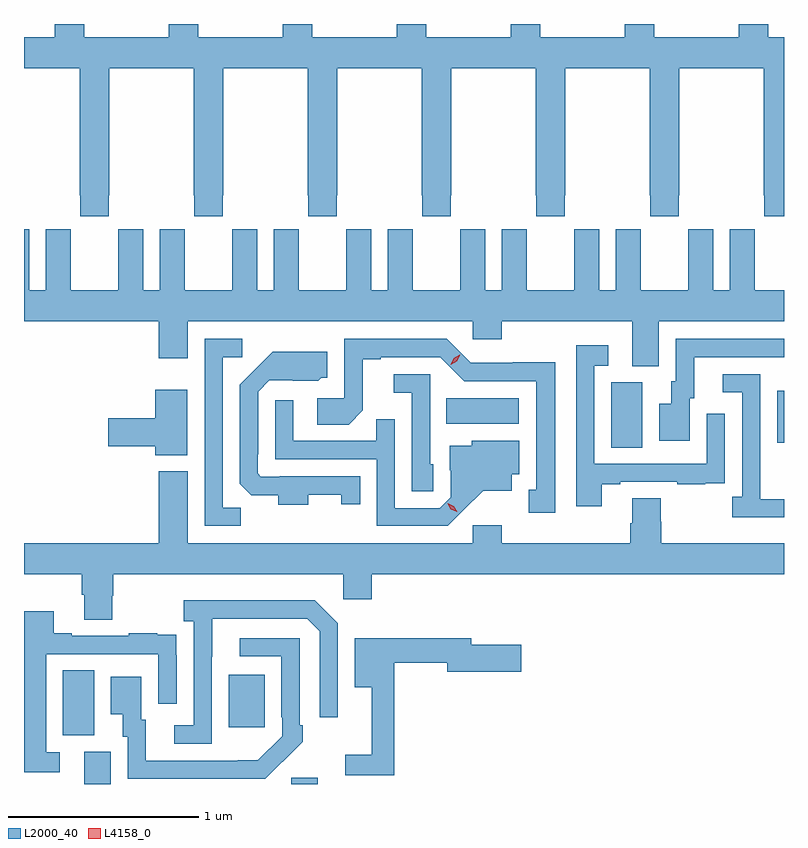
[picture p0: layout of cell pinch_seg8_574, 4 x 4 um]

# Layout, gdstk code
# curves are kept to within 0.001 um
import gdstk
lib = gdstk.Library(unit=1e-6, precision=1e-09)
def R(c, l, rs):  # rectangles x0, y0, x1, y1
    for r in rs: c.add(gdstk.rectangle(r[:2], r[2:], *l))
def P(c, l, *ps):  # polygons
    for p in ps: c.add(gdstk.Polygon(p, *l))
L2000_40 = (2000, 40)
L4158_0 = (4158, 0)

pinch_seg8_574 = lib.new_cell('pinch_seg8_574')
R(pinch_seg8_574, L2000_40, [(132.797,1086.093,132.937,1086.264), (133.887,1086.093,134.026,1086.126), (132.686,1086.349,132.85,1086.692), (133.559,1086.393,133.747,1086.667), (135.572,1087.864,135.736,1088.208), (136.445,1087.889,136.481,1088.164), (134.704,1087.988,135.085,1088.122)])
P(pinch_seg8_574, L2000_40, [(135.175,1089.193),(135.177,1089.193),(135.177,1089.081),(135.327,1089.081),(135.327,1089.193),(135.33,1089.193),(135.33,1089.86),(135.775,1089.86),(135.775,1089.193),(135.777,1089.193),(135.777,1089.081),(135.927,1089.081),(135.927,1089.193),(135.93,1089.193),(135.93,1089.86),(136.375,1089.86),(136.375,1089.193),(136.377,1089.193),(136.377,1089.081),(136.481,1089.081),(136.481,1090.024),(136.398,1090.024),(136.398,1090.093),(136.243,1090.093),(136.243,1090.024),(135.798,1090.024),(135.798,1090.093),(135.643,1090.093),(135.643,1090.024),(135.198,1090.024),(135.198,1090.093),(135.043,1090.093),(135.043,1090.024),(134.598,1090.024),(134.598,1090.093),(134.443,1090.093),(134.443,1090.024),(133.998,1090.024),(133.998,1090.093),(133.843,1090.093),(133.843,1090.024),(133.398,1090.024),(133.398,1090.093),(133.243,1090.093),(133.243,1090.024),(132.798,1090.024),(132.798,1090.093),(132.643,1090.093),(132.643,1090.024),(132.481,1090.024),(132.481,1089.86),(132.775,1089.86),(132.775,1089.193),(132.777,1089.193),(132.777,1089.081),(132.927,1089.081),(132.927,1089.193),(132.93,1089.193),(132.93,1089.86),(133.375,1089.86),(133.375,1089.193),(133.377,1089.193),(133.377,1089.081),(133.527,1089.081),(133.527,1089.193),(133.53,1089.193),(133.53,1089.86),(133.975,1089.86),(133.975,1089.193),(133.977,1089.193),(133.977,1089.081),(134.127,1089.081),(134.127,1089.193),(134.13,1089.193),(134.13,1089.86),(134.575,1089.86),(134.575,1089.193),(134.577,1089.193),(134.577,1089.081),(134.727,1089.081),(134.727,1089.193),(134.73,1089.193),(134.73,1089.86),(135.175,1089.86)],
  [(135.823,1088.528),(136.481,1088.528),(136.481,1088.692),(136.327,1088.692),(136.327,1088.9),(136.326,1088.9),(136.326,1089.013),(136.196,1089.013),(136.196,1088.692),(136.108,1088.692),(136.108,1089.013),(135.978,1089.013),(135.978,1088.9),(135.977,1088.9),(135.977,1088.692),(135.727,1088.692),(135.727,1088.9),(135.726,1088.9),(135.726,1089.013),(135.596,1089.013),(135.596,1088.692),(135.508,1088.692),(135.508,1089.013),(135.378,1089.013),(135.378,1088.9),(135.377,1088.9),(135.377,1088.692),(135.127,1088.692),(135.127,1088.9),(135.126,1088.9),(135.126,1089.013),(134.996,1089.013),(134.996,1088.692),(134.908,1088.692),(134.908,1089.013),(134.778,1089.013),(134.778,1088.9),(134.777,1088.9),(134.777,1088.692),(134.527,1088.692),(134.527,1088.9),(134.526,1088.9),(134.526,1089.013),(134.396,1089.013),(134.396,1088.692),(134.308,1088.692),(134.308,1089.013),(134.178,1089.013),(134.178,1088.9),(134.177,1088.9),(134.177,1088.692),(133.927,1088.692),(133.927,1088.9),(133.926,1088.9),(133.926,1089.013),(133.796,1089.013),(133.796,1088.692),(133.708,1088.692),(133.708,1089.013),(133.578,1089.013),(133.578,1088.9),(133.577,1088.9),(133.577,1088.692),(133.327,1088.692),(133.327,1088.9),(133.326,1088.9),(133.326,1089.013),(133.196,1089.013),(133.196,1088.692),(133.108,1088.692),(133.108,1089.013),(132.978,1089.013),(132.978,1088.9),(132.977,1088.9),(132.977,1088.692),(132.727,1088.692),(132.727,1088.9),(132.726,1088.9),(132.726,1089.013),(132.596,1089.013),(132.596,1088.692),(132.508,1088.692),(132.508,1089.013),(132.481,1089.013),(132.481,1088.528),(133.19,1088.528),(133.19,1088.334),(133.342,1088.334),(133.342,1088.528),(134.844,1088.528),(134.844,1088.435),(134.996,1088.435),(134.996,1088.528),(135.683,1088.528),(135.683,1088.293),(135.823,1088.293)],
  [(135.985,1088.124),(136.009,1088.124),(136.009,1088.34),(136.481,1088.34),(136.481,1088.436),(135.912,1088.436),(135.912,1088.214),(135.887,1088.214),(135.887,1088.095),(135.824,1088.095),(135.824,1087.899),(135.985,1087.899)],
  [(133.623,1087.547),(133.527,1087.547),(133.527,1088.34),(133.63,1088.34),(133.63,1088.436),(133.431,1088.436),(133.431,1087.452),(133.623,1087.452)],
  [(135.277,1088.312),(135.054,1088.312),(135.054,1088.31),(134.832,1088.31),(134.706,1088.436),(134.166,1088.436),(134.166,1088.124),(134.025,1088.124),(134.025,1087.984),(134.189,1087.984),(134.265,1088.06),(134.265,1088.328),(134.359,1088.328),(134.359,1088.34),(134.673,1088.34),(134.799,1088.214),(135.176,1088.214),(135.176,1087.641),(135.137,1087.641),(135.137,1087.521),(135.277,1087.521)],
  [(135.523,1087.671),(135.619,1087.671),(135.619,1087.683),(135.919,1087.683),(135.919,1087.671),(136.067,1087.671),(136.067,1087.677),(136.169,1087.677),(136.169,1087.786),(136.17,1087.786),(136.17,1088.041),(136.074,1088.041),(136.074,1087.779),(135.483,1087.779),(135.483,1088.295),(135.556,1088.295),(135.556,1088.401),(135.387,1088.401),(135.387,1087.554),(135.523,1087.554)],
  [(133.978,1087.615),(134.151,1087.615),(134.151,1087.566),(134.252,1087.566),(134.252,1087.713),(133.828,1087.713),(133.828,1087.71),(133.728,1087.71),(133.71,1087.728),(133.71,1087.828),(133.713,1087.828),(133.713,1088.157),(133.773,1088.217),(134.03,1088.216),(134.046,1088.232),(134.077,1088.232),(134.077,1088.368),(133.789,1088.368),(133.617,1088.194),(133.617,1087.672),(133.676,1087.613),(133.82,1087.613),(133.82,1087.562),(133.978,1087.562)],
  [(134.634,1087.776),(134.619,1087.776),(134.619,1088.25),(134.427,1088.25),(134.427,1088.153),(134.523,1088.153),(134.523,1087.633),(134.634,1087.633)],
  [(136.481,1087.593),(136.357,1087.593),(136.357,1087.793),(136.356,1087.793),(136.356,1088.25),(136.158,1088.25),(136.158,1088.154),(136.26,1088.154),(136.26,1087.606),(136.209,1087.606),(136.209,1087.496),(136.481,1087.496)],
  [(133.339,1088.167),(133.172,1088.167),(133.172,1088.018),(132.924,1088.018),(132.924,1087.871),(133.172,1087.871),(133.172,1087.823),(133.339,1087.823)],
  [(134.794,1087.535),(134.897,1087.637),(135.049,1087.637),(135.049,1087.724),(135.088,1087.724),(135.088,1087.9),(134.838,1087.9),(134.838,1087.873),(134.723,1087.873),(134.723,1087.744),(134.727,1087.744),(134.727,1087.602),(134.67,1087.545),(134.433,1087.545),(134.433,1088.012),(134.335,1088.012),(134.335,1087.899),(133.899,1087.899),(133.899,1088.113),(133.803,1088.113),(133.803,1087.803),(134.337,1087.803),(134.337,1087.452),(134.71,1087.452)],
  [(132.945,1087.083),(132.95,1087.083),(132.95,1087.196),(134.16,1087.196),(134.16,1087.065),(134.312,1087.065),(134.312,1087.196),(136.481,1087.196),(136.481,1087.36),(135.836,1087.36),(135.836,1087.473),(135.831,1087.473),(135.831,1087.598),(135.683,1087.598),(135.683,1087.466),(135.671,1087.466),(135.671,1087.36),(134.996,1087.36),(134.996,1087.456),(134.844,1087.456),(134.844,1087.36),(133.342,1087.36),(133.342,1087.738),(133.19,1087.738),(133.19,1087.36),(132.481,1087.36),(132.481,1087.196),(132.785,1087.196),(132.785,1087.09),(132.797,1087.09),(132.797,1086.958),(132.945,1086.958)],
  [(133.47,1086.763),(133.471,1086.963),(133.971,1086.963),(134.037,1086.897),(134.037,1086.444),(134.133,1086.444),(134.133,1086.939),(134.012,1087.06),(133.323,1087.06),(133.323,1086.95),(133.374,1086.95),(133.374,1086.402),(133.272,1086.402),(133.272,1086.306),(133.47,1086.306)],
  [(132.67,1086.261),(132.597,1086.261),(132.597,1086.777),(133.188,1086.777),(133.188,1086.516),(133.284,1086.516),(133.284,1086.77),(133.283,1086.77),(133.283,1086.879),(133.181,1086.879),(133.181,1086.886),(133.033,1086.886),(133.033,1086.873),(132.733,1086.873),(132.733,1086.886),(132.637,1086.886),(132.637,1087.003),(132.481,1087.003),(132.481,1086.156),(132.67,1086.156)],
  [(133.841,1086.211),(133.842,1086.21),(133.947,1086.315),(133.947,1086.403),(133.932,1086.403),(133.932,1086.861),(133.617,1086.861),(133.617,1086.765),(133.836,1086.765),(133.836,1086.445),(133.839,1086.445),(133.839,1086.345),(133.711,1086.217),(133.123,1086.216),(133.123,1086.432),(133.099,1086.432),(133.099,1086.658),(132.938,1086.658),(132.938,1086.461),(133.001,1086.461),(133.001,1086.342),(133.026,1086.342),(133.026,1086.12),(133.75,1086.12)],
  [(134.429,1086.73),(134.708,1086.73),(134.708,1086.683),(135.097,1086.683),(135.097,1086.825),(134.836,1086.825),(134.836,1086.859),(134.222,1086.859),(134.222,1086.602),(134.312,1086.602),(134.312,1086.247),(134.172,1086.247),(134.172,1086.138),(134.429,1086.138)])
P(pinch_seg8_574, L4158_0, [(134.726,1088.3),(134.726,1088.3),(134.744,1088.333),(134.775,1088.352),(134.776,1088.352),(134.776,1088.351),(134.758,1088.319),(134.726,1088.3)],
  [(134.759,1087.525),(134.728,1087.54),(134.711,1087.569),(134.711,1087.57),(134.711,1087.57),(134.742,1087.555),(134.76,1087.525),(134.76,1087.525)])

lib.write_gds('pinch_seg8_574.gds')
